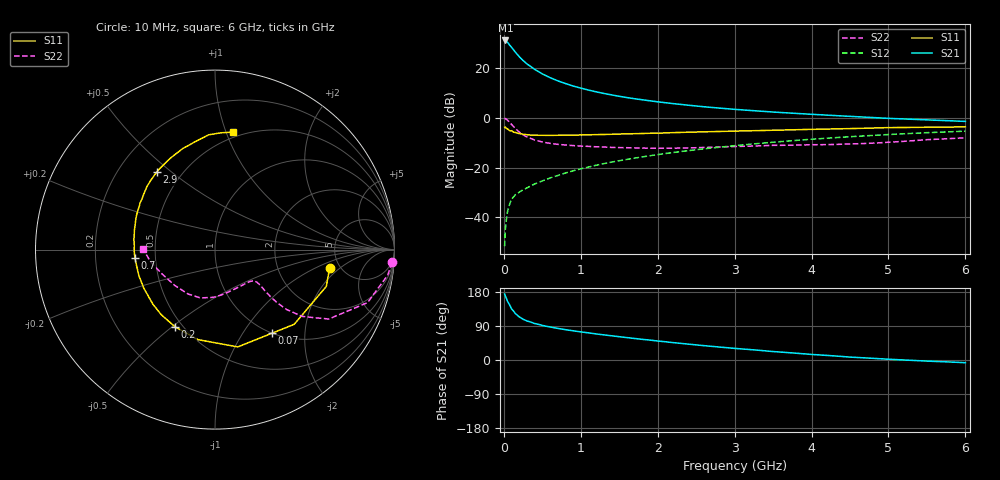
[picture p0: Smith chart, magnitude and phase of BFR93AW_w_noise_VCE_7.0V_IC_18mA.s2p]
! Infineon Technologies  Discrete & RF Semiconductors
! BFR93AW
! VCE =  7.0 V,  IC =  18 mA
! Common Emitter S-Parameters:  Jan 2017
# GHz  S  MA  R  50
!  f  S11  S21  S12  S22
! GHz  MAG  ANG  MAG  ANG  MAG  ANG  MAG  ANG
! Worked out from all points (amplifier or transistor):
!   77 points, 10 MHz to 6 GHz, reference 50 ohm
!   highest |S21| = 31.3 dB at 20 MHz (marker M1)
!   |S21| within 3 dB of that: start of sweep to 107 MHz
!   unconditionally stable (mu >= 1): 705.3 MHz to 2.065 GHz
!   at 130 MHz: K = 0.41, MSG = 29.5 dB, |S12| = -31.7 dB
!   at 2.2 GHz: K = 0.99, MSG = 9.9 dB, |S12| = -13.9 dB
!   at 6 GHz: K = 0.86, MSG = 2.0 dB, |S12| = -5.3 dB
!   lowest NFmin = 1.47 dB at 450 MHz
!   S11 on the Smith chart (normalised r, x): 10 MHz: 4.13, -1.45; 70 MHz: 1.00, -1.36; 200 MHz: 0.46, -0.51; 700 MHz: 0.38, -0.05; 2.9 GHz: 0.37, +0.44; 6 GHz: 0.45, +1.06
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0.01  0.647 -9.1  36.62 174.1  0.0026 82.2  0.9864 -4.1
0.02  0.6531 -18.3  36.65 168.9  0.0057 88.4  0.9738 -8.3
0.05  0.6067 -43.3  33.31 153.8  0.0134 72.9  0.9005 -19.1
0.07  0.5634 -55.9  30.32 147.2  0.0172 68.0  0.833 -23.5
0.1  0.5569 -76.8  26.77 134.9  0.023 63.7  0.7429 -31.4
0.15  0.5105 -100.7  21.29 122.4  0.0283 57.5  0.611 -37.5
0.2  0.4845 -117.2  17.27 113.9  0.0319 56.6  0.5208 -39.9
0.25  0.4703 -129.6  14.45 107.6  0.0358 56.2  0.4584 -40.5
0.3  0.4606 -138.8  12.33 103.1  0.0389 57.4  0.4136 -40.4
0.4  0.4511 -151.5  9.556 96.3  0.0467 59.9  0.3602 -39.5
0.5  0.4484 -160.9  7.747 91.3  0.0538 61.9  0.3283 -38.5
0.6  0.4459 -168.0  6.532 87.1  0.0617 63.7  0.3083 -38.0
0.7  0.4486 -173.8  5.63 83.5  0.0692 65.5  0.2943 -37.9
0.9  0.4504 176.9  4.42 77.1  0.0861 66.9  0.2777 -39.0
1.1  0.4574 169.7  3.662 71.6  0.1026 67.9  0.2678 -41.2
1.5  0.4749 157.7  2.741 61.5  0.1376 67.4  0.2528 -48.9
2.1  0.5003 143.1  2.035 48.1  0.1919 64.4  0.2457 -65.7
2.9  0.5396 127.0  1.539 32.5  0.2667 58.6  0.2634 -90.3
3.1  0.5482 123.2  1.458 29.1  0.2859 56.8  0.2683 -96.0
4.1  0.5943 106.2  1.165 13.4  0.382 47.1  0.2894 -124.7
5.1  0.6418 92.0  0.97 1.1  0.4722 35.9  0.331 -158.3
6  0.6622 81.4  0.854 -7.1  0.5431 25.6  0.3999 179.6
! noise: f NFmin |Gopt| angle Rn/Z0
0.45  1.47  0.13  155  0.14
0.9  1.74  0.23  172  0.15
1.9  2.74  0.47  -140  0.22
2.4  3.36  0.54  -127  0.43
